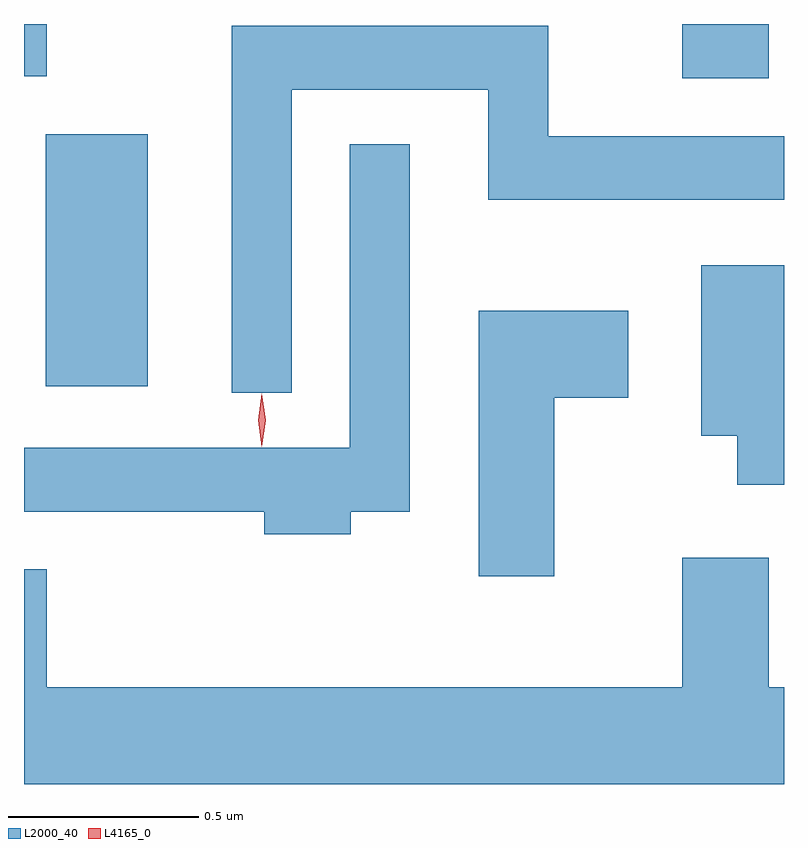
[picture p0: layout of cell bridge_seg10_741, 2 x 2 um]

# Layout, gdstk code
import gdstk
lib = gdstk.Library(unit=1e-6, precision=1e-09)
def R(c, l, rs):  # rectangles x0, y0, x1, y1
    for r in rs: c.add(gdstk.rectangle(r[:2], r[2:], *l))
def P(c, l, *ps):  # polygons
    for p in ps: c.add(gdstk.Polygon(p, *l))
L2000_40 = (2000, 40)
L4165_0 = (4165, 0)

bridge_seg10_741 = lib.new_cell('bridge_seg10_741')
R(bridge_seg10_741, L2000_40, [(956.376,2112.756,956.644,2113.419), (958.051,2113.566,958.279,2113.709), (956.319,2113.571,956.379,2113.709)])
P(bridge_seg10_741, L2000_40, [(957.024,2113.536),(957.541,2113.536),(957.541,2113.246),(958.319,2113.246),(958.319,2113.414),(957.699,2113.414),(957.699,2113.704),(956.866,2113.704),(956.866,2112.738),(957.024,2112.738)],
  [(957.179,2112.426),(957.334,2112.426),(957.334,2113.393),(957.176,2113.393),(957.176,2112.594),(956.319,2112.594),(956.319,2112.426),(956.951,2112.426),(956.951,2112.366),(957.179,2112.366)],
  [(958.319,2113.074),(958.101,2113.074),(958.101,2112.626),(958.196,2112.626),(958.196,2112.496),(958.319,2112.496)],
  [(957.714,2112.726),(957.909,2112.726),(957.909,2112.954),(957.516,2112.954),(957.516,2112.256),(957.714,2112.256)],
  [(958.319,2111.964),(958.279,2111.964),(958.279,2112.304),(958.051,2112.304),(958.051,2111.964),(956.379,2111.964),(956.379,2112.274),(956.319,2112.274),(956.319,2111.709),(958.319,2111.709)])
P(bridge_seg10_741, L4165_0, [(956.945,2112.599),(956.944,2112.6),(956.935,2112.666),(956.944,2112.732),(956.945,2112.733),(956.945,2112.732),(956.955,2112.666),(956.945,2112.6)],
  [(956.944,2112.597),(956.935,2112.666),(956.944,2112.736),(956.945,2112.736),(956.945,2112.736),(956.955,2112.666),(956.945,2112.597),(956.945,2112.597)])

lib.write_gds('bridge_seg10_741.gds')
